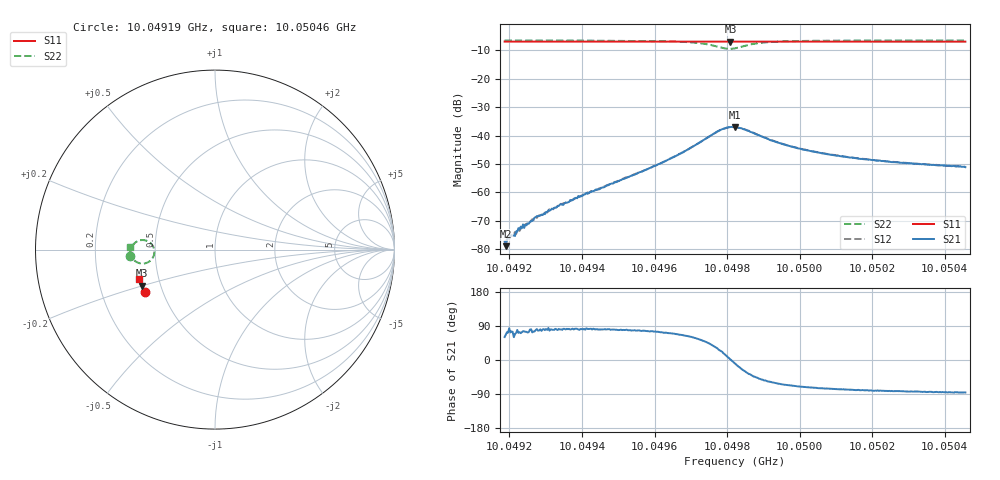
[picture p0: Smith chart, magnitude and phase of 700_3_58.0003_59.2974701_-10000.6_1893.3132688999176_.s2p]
#  HZ  S  RI  R  50.00
! Rohde & Schwarz Vector Network Analyzer
! Rohde-Schwarz,ZNB20-2Port,1311601062101988,3.16
! Created: UTC 3/21/2024, 1:21:45 AM
! freq[Hz]  re:S11  im:S11  re:S21  im:S21  re:S12  im:S12  re:S22  im:S22
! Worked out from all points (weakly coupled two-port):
!   401 points, 10.04919 GHz to 10.05046 GHz, reference 50 ohm
!   highest |S21| = -36.93 dB at 10.04982 GHz (marker M1); lowest = -78.9 dB at 10.04919 GHz (marker M2)
!   lowest |S11| = -6.9 dB at 10.04981 GHz (marker M3), VSWR 2.65, Z = 19.8 - j9.94 ohm
!   |S11| at or under -10 dB: nowhere
!   |S22| runs from -9.4 to -6.5 dB; largest |S21 - S12| = 0.001
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1.0049187e10  -0.3878 -0.2368  6.67e-05 0.000119  6.23e-05 9.39e-05  -0.4734 -0.0365
1.004919e10  -0.388 -0.2368  4.41e-05 0.000104  4.3e-05 0.00011  -0.4735 -0.0364
1.0049199e10  -0.3883 -0.2362  1.63e-05 0.000153  5.7e-05 0.000142  -0.4736 -0.0353
1.0049215e10  -0.3887 -0.2353  6.18e-05 0.000158  6.19e-05 0.00019  -0.4734 -0.0341
1.0049231e10  -0.3893 -0.2343  8.16e-05 0.000235  5.79e-05 0.000223  -0.4734 -0.0327
1.0049257e10  -0.3901 -0.2328  5.06e-05 0.000296  5.37e-05 0.000296  -0.4735 -0.0303
1.0049276e10  -0.3907 -0.2316  5.53e-05 0.000376  4.22e-05 0.000353  -0.4735 -0.0285
1.0049342e10  -0.3928 -0.2278  0.000101 0.000613  3.84e-05 0.000628  -0.473 -0.0219
1.0049399e10  -0.3946 -0.2246  0.000127 0.000852  5.62e-05 0.000879  -0.4724 -0.0155
1.0049612e10  -0.401 -0.2118  0.000875 0.00303  0.000735 0.00308  -0.462 0.0184
1.0049685e10  -0.4032 -0.2072  0.00238 0.00484  0.00209 0.005  -0.4449 0.0386
1.0049752e10  -0.4044 -0.203  0.00716 0.00667  0.00672 0.00702  -0.3958 0.0529
1.0049784e10  -0.4049 -0.2013  0.0117 0.00498  0.0114 0.0056  -0.3545 0.0316
1.0049809e10  -0.405 -0.2001  0.0141 0.000339  0.0141 0.00131  -0.3377 -0.0139
1.0049822e10  -0.4055 -0.1998  0.014 -0.00241  0.0139 -0.00144  -0.3432 -0.0389
1.0049854e10  -0.4066 -0.1984  0.0105 -0.00677  0.011 -0.00604  -0.3827 -0.0745
1.0049901e10  -0.4084 -0.1958  0.00551 -0.00754  0.00608 -0.00713  -0.4314 -0.072
1.0049959e10  -0.4101 -0.1923  0.00291 -0.00632  0.00332 -0.00615  -0.4557 -0.0534
1.0050035e10  -0.4124 -0.1875  0.00155 -0.00505  0.00186 -0.00496  -0.4672 -0.0342
1.0050133e10  -0.4149 -0.1814  0.000845 -0.00407  0.0011 -0.00405  -0.4723 -0.0172
1.0050248e10  -0.4177 -0.1745  0.00051 -0.00342  0.000705 -0.0034  -0.4743 -0.00307
1.0050457e10  -0.4225 -0.1614  0.000203 -0.00277  0.000361 -0.00283  -0.4749 0.0171
